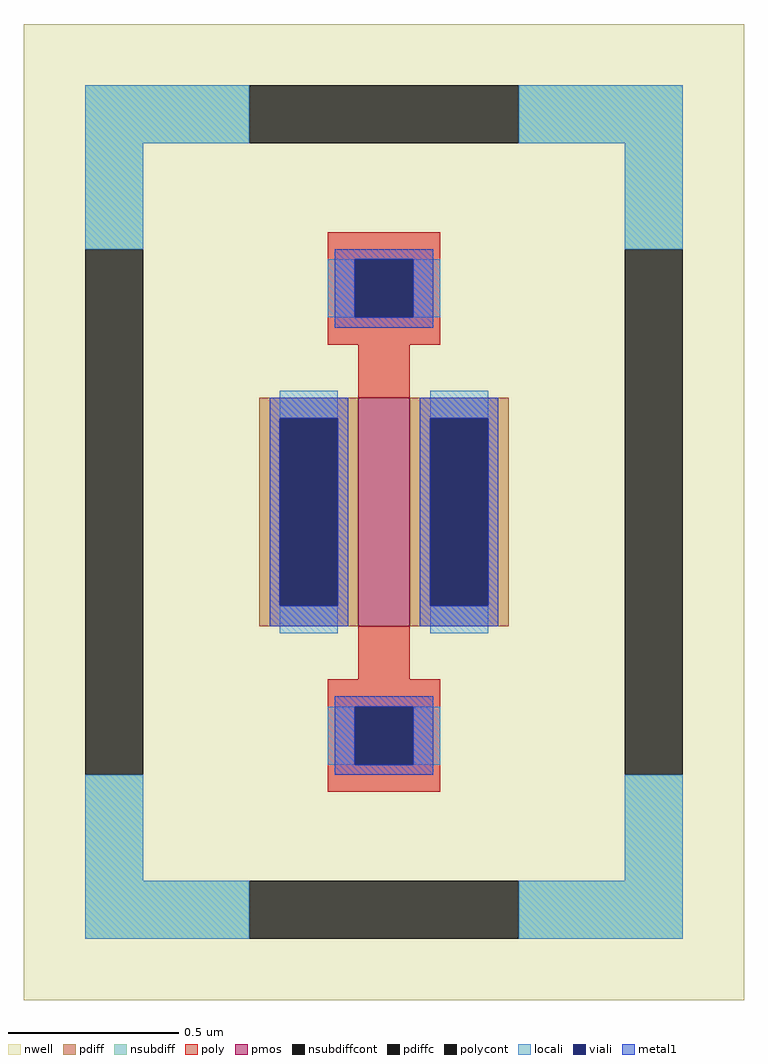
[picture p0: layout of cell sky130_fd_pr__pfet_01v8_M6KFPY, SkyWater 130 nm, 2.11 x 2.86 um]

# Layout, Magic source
magic
tech sky130A
magscale 1 2
<< nwell >>
rect -211 -286 211 286
<< pmos >>
rect -15 -67 15 67
<< pdiff >>
rect -73 55 -15 67
rect -73 -55 -61 55
rect -27 -55 -15 55
rect -73 -67 -15 -55
rect 15 55 73 67
rect 15 -55 27 55
rect 61 -55 73 55
rect 15 -67 73 -55
<< pdiffc >>
rect -61 -55 -27 55
rect 27 -55 61 55
<< nsubdiff >>
rect -175 216 -79 250
rect 79 216 175 250
rect -175 154 -141 216
rect 141 154 175 216
rect -175 -216 -141 -154
rect 141 -216 175 -154
rect -175 -250 -79 -216
rect 79 -250 175 -216
<< nsubdiffcont >>
rect -79 216 79 250
rect -175 -154 -141 154
rect 141 -154 175 154
rect -79 -250 79 -216
<< poly >>
rect -33 148 33 164
rect -33 114 -17 148
rect 17 114 33 148
rect -33 98 33 114
rect -15 67 15 98
rect -15 -98 15 -67
rect -33 -114 33 -98
rect -33 -148 -17 -114
rect 17 -148 33 -114
rect -33 -164 33 -148
<< polycont >>
rect -17 114 17 148
rect -17 -148 17 -114
<< locali >>
rect -175 216 -79 250
rect 79 216 175 250
rect -175 154 -141 216
rect 141 154 175 216
rect -33 114 -17 148
rect 17 114 33 148
rect -61 55 -27 71
rect -61 -71 -27 -55
rect 27 55 61 71
rect 27 -71 61 -55
rect -33 -148 -17 -114
rect 17 -148 33 -114
rect -175 -216 -141 -154
rect 141 -216 175 -154
rect -175 -250 -79 -216
rect 79 -250 175 -216
<< viali >>
rect -17 114 17 148
rect -61 -55 -27 55
rect 27 -55 61 55
rect -17 -148 17 -114
<< metal1 >>
rect -29 148 29 154
rect -29 114 -17 148
rect 17 114 29 148
rect -29 108 29 114
rect -67 55 -21 67
rect -67 -55 -61 55
rect -27 -55 -21 55
rect -67 -67 -21 -55
rect 21 55 67 67
rect 21 -55 27 55
rect 61 -55 67 55
rect 21 -67 67 -55
rect -29 -114 29 -108
rect -29 -148 -17 -114
rect 17 -148 29 -114
rect -29 -154 29 -148
<< properties >>
string FIXED_BBOX -158 -233 158 233
string gencell sky130_fd_pr__pfet_01v8
string library sky130
string parameters w 0.67 l 0.15 m 1 nf 1 diffcov 100 polycov 100 guard 1 glc 1 grc 1 gtc 1 gbc 1 tbcov 100 rlcov 100 topc 1 botc 1 poverlap 0 doverlap 1 lmin 0.15 wmin 0.42 compatible {sky130_fd_pr__pfet_01v8  sky130_fd_pr__pfet_01v8_lvt sky130_fd_pr__pfet_01v8_hvt  sky130_fd_pr__pfet_g5v0d10v5} full_metal 1 viasrc 100 viadrn 100 viagate 100 viagb 0 viagr 0 viagl 0 viagt 0
<< end >>
